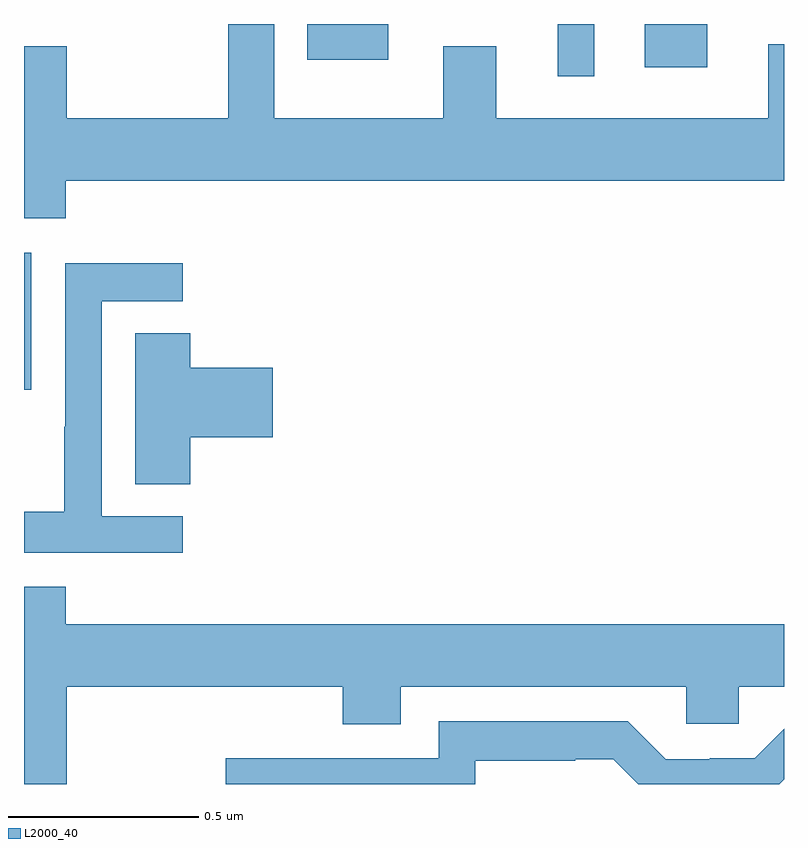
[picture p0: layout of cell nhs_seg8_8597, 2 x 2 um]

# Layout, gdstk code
import gdstk
lib = gdstk.Library(unit=1e-6, precision=1e-09)
def R(c, l, rs):  # rectangles x0, y0, x1, y1
    for r in rs: c.add(gdstk.rectangle(r[:2], r[2:], *l))
def P(c, l, *ps):  # polygons
    for p in ps: c.add(gdstk.Polygon(p, *l))
L2000_40 = (2000, 40)

nhs_seg8_8597 = lib.new_cell('nhs_seg8_8597')
R(nhs_seg8_8597, L2000_40, [(225,1127.937,225.019,1128.298), (226.404,1128.762,226.501,1128.9), (226.634,1128.786,226.798,1128.9), (225.746,1128.806,225.958,1128.9)])
P(nhs_seg8_8597, L2000_40, [(225.11,1128.488),(227,1128.488),(227,1128.847),(226.958,1128.847),(226.958,1128.652),(226.243,1128.652),(226.243,1128.841),(226.103,1128.841),(226.103,1128.652),(225.658,1128.652),(225.658,1128.9),(225.538,1128.9),(225.538,1128.652),(225.112,1128.652),(225.112,1128.841),(225,1128.841),(225,1128.389),(225.11,1128.389)],
  [(225.418,1127.604),(225.204,1127.604),(225.204,1128.171),(225.418,1128.171),(225.418,1128.27),(225.108,1128.27),(225.108,1127.84),(225.106,1127.84),(225.106,1127.617),(225,1127.617),(225,1127.508),(225.418,1127.508)],
  [(225.437,1127.813),(225.655,1127.813),(225.655,1127.996),(225.437,1127.996),(225.437,1128.086),(225.293,1128.086),(225.293,1127.689),(225.437,1127.689)],
  [(225.112,1127.156),(225.839,1127.156),(225.839,1127.057),(225.991,1127.057),(225.991,1127.156),(226.743,1127.156),(226.743,1127.058),(226.881,1127.058),(226.881,1127.156),(227,1127.156),(227,1127.32),(225.11,1127.32),(225.11,1127.419),(225,1127.419),(225,1126.9),(225.112,1126.9)],
  [(226.188,1126.961),(226.451,1126.961),(226.451,1126.965),(226.551,1126.965),(226.616,1126.9),(226.987,1126.9),(227,1126.913),(227,1127.045),(226.923,1126.968),(226.805,1126.968),(226.805,1126.965),(226.689,1126.965),(226.589,1127.065),(226.092,1127.065),(226.092,1126.968),(225.531,1126.968),(225.531,1126.9),(226.188,1126.9)])

lib.write_gds('nhs_seg8_8597.gds')
